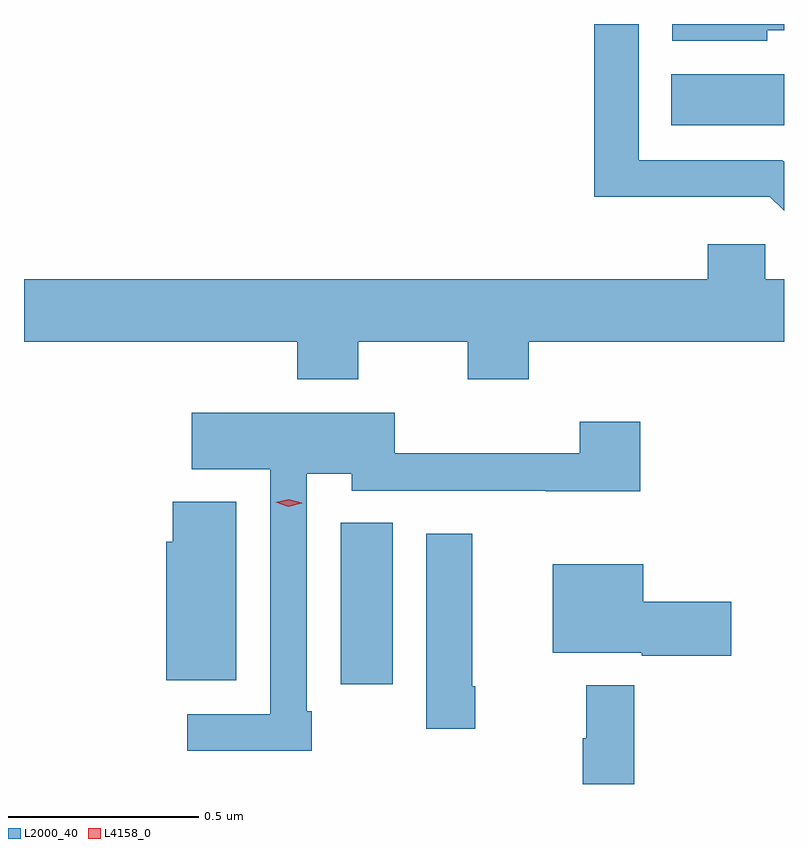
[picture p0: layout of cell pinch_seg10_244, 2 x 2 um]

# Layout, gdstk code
import gdstk
lib = gdstk.Library(unit=1e-6, precision=1e-09)
def R(c, l, rs):  # rectangles x0, y0, x1, y1
    for r in rs: c.add(gdstk.rectangle(r[:2], r[2:], *l))
def P(c, l, *ps):  # polygons
    for p in ps: c.add(gdstk.Polygon(p, *l))
L2000_40 = (2000, 40)
L4158_0 = (4158, 0)

pinch_seg10_244 = lib.new_cell('pinch_seg10_244')
R(pinch_seg10_244, L2000_40, [(619.127,1308.738,619.264,1309.163), (619.997,1310.21,620.294,1310.344)])
P(pinch_seg10_244, L2000_40, [(620.294,1310.113),(620.289,1310.118),(619.912,1310.118),(619.912,1310.476),(619.794,1310.476),(619.794,1310.021),(620.034,1310.021),(620.034,1310.022),(620.256,1310.022),(620.294,1309.984)],
  [(620.25,1310.459),(620.294,1310.459),(620.294,1310.476),(620,1310.476),(620,1310.432),(620.25,1310.432)],
  [(619.173,1309.64),(619.462,1309.64),(619.462,1309.541),(619.622,1309.541),(619.622,1309.64),(620.294,1309.64),(620.294,1309.804),(620.244,1309.804),(620.244,1309.897),(620.093,1309.897),(620.093,1309.804),(618.294,1309.804),(618.294,1309.64),(619.013,1309.64),(619.013,1309.541),(619.173,1309.541)],
  [(619.051,1308.667),(619.038,1308.667),(619.038,1309.292),(619.157,1309.292),(619.157,1309.248),(619.667,1309.248),(619.667,1309.247),(619.916,1309.247),(619.916,1309.429),(619.756,1309.429),(619.756,1309.346),(619.27,1309.346),(619.27,1309.453),(618.735,1309.453),(618.735,1309.304),(618.942,1309.304),(618.942,1308.66),(618.723,1308.66),(618.723,1308.564),(619.051,1308.564)],
  [(618.853,1309.219),(618.686,1309.219),(618.686,1309.113),(618.668,1309.113),(618.668,1308.749),(618.853,1308.749)],
  [(619.482,1308.733),(619.474,1308.733),(619.474,1309.135),(619.352,1309.135),(619.352,1308.621),(619.482,1308.621)],
  [(620.155,1308.956),(619.924,1308.956),(619.924,1309.054),(619.685,1309.054),(619.685,1308.821),(619.92,1308.821),(619.92,1308.814),(620.155,1308.814)],
  [(619.9,1308.736),(619.773,1308.736),(619.773,1308.596),(619.765,1308.596),(619.765,1308.476),(619.9,1308.476)])
P(pinch_seg10_244, L4158_0, [(618.99,1309.206),(618.956,1309.217),(618.956,1309.217),(618.956,1309.218),(618.991,1309.226),(619.025,1309.216),(619.026,1309.215),(619.025,1309.215)])

lib.write_gds('pinch_seg10_244.gds')
